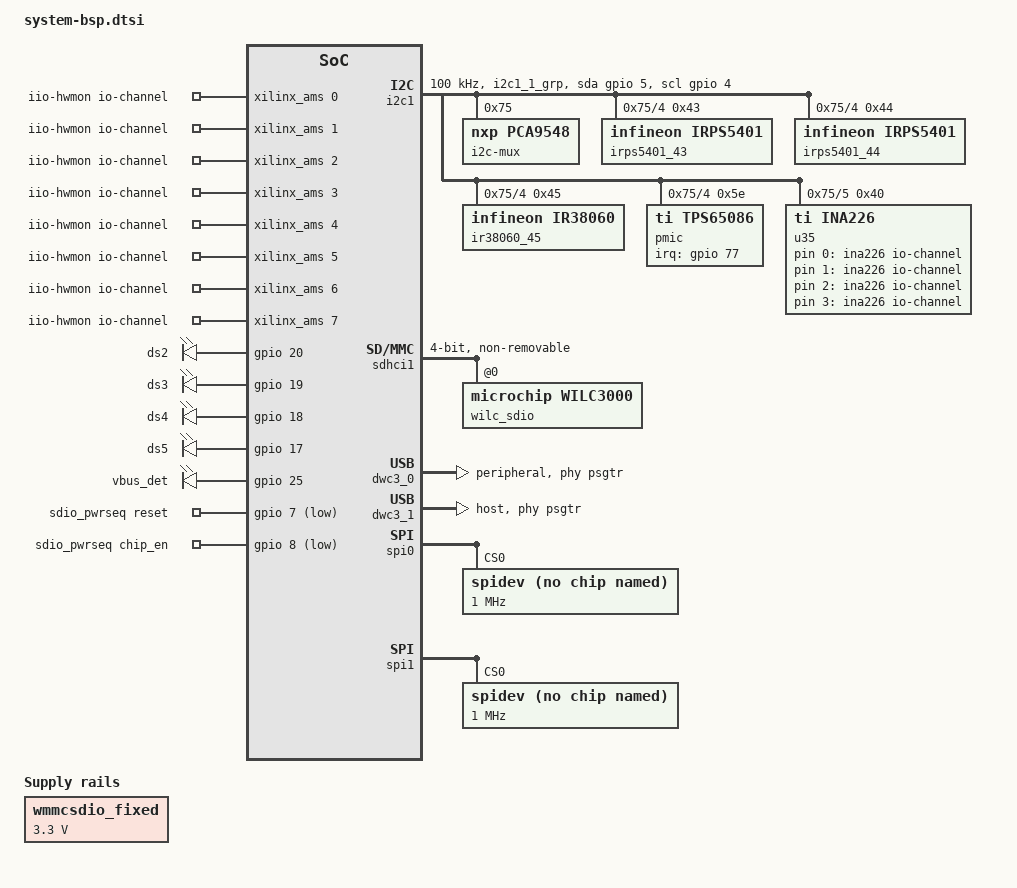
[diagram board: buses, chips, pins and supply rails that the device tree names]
/include/ "system-conf.dtsi"
/include/ "openamp.dtsi"

#include "include/dt-bindings/input/input.h"
#include "include/dt-bindings/interrupt-controller/irq.h"
#include "include/dt-bindings/gpio/gpio.h"
#include "include/dt-bindings/pinctrl/pinctrl-zynqmp.h"
#include "include/dt-bindings/phy/phy.h"

/ {
   chosen {
      bootargs = "earlycon console=ttyPS0,115200 clk_ignore_unused root=/dev/mmcblk0p2 rw rootwait cma=512M rfkill.default_state=1";
   };

   gpio-keys {
      compatible = "gpio-keys";
      autorepeat;
   };

   iio-hwmon {
      compatible = "iio-hwmon";
      io-channels = <&xilinx_ams 0>, <&xilinx_ams 1>, <&xilinx_ams 2>,
         <&xilinx_ams 3>, <&xilinx_ams 4>, <&xilinx_ams 5>,
         <&xilinx_ams 6>, <&xilinx_ams 7>, <&xilinx_ams 8>,
         <&xilinx_ams 9>, <&xilinx_ams 10>,
         <&xilinx_ams 11>, <&xilinx_ams 12>;
   };

   leds {
      compatible = "gpio-leds";
      ds2 {
         label = "ds2";
         gpios = <&gpio 20 GPIO_ACTIVE_HIGH>;
         linux,default-trigger = "heartbeat";
      };

      ds3 {
         label = "ds3";
         gpios = <&gpio 19 GPIO_ACTIVE_HIGH>;
         linux,default-trigger = "phy0tx"; /* WLAN tx */
         default-state = "off";
      };

      ds4 {
         label = "ds4";
         gpios = <&gpio 18 GPIO_ACTIVE_HIGH>;
         linux,default-trigger = "phy0rx"; /* WLAN rx */
         default-state = "off";
      };

      ds5 {
         label = "ds5";
         gpios = <&gpio 17 GPIO_ACTIVE_HIGH>;
         linux,default-trigger = "bluetooth-power";
      };

      vbus-det { /* U5 USB5744 VBUS detection via MIO25 */
         label = "vbus_det";
         gpios = <&gpio 25 GPIO_ACTIVE_HIGH>;
         default-state = "on";
      };
   };

   wmmcsdio_fixed: fixedregulator-mmcsdio {
      compatible = "regulator-fixed";
      regulator-name = "wmmcsdio_fixed";
      regulator-min-microvolt = <3300000>;
      regulator-max-microvolt = <3300000>;
      regulator-always-on;
      regulator-boot-on;
   };

   sdio_pwrseq: sdio-pwrseq {  /* This needs to be able to manipulate the chip_en and the resetn properly */
      compatible = "mmc-pwrseq-simple";
      reset-gpios = <&gpio 7 1>; // MIO[7] for WILC3000 RESETN, Active low
      post-power-on-delay-ms = <10>;
      chip_en-gpios = <&gpio 8 1>;
   };

   ina226 {
      compatible = "iio-hwmon";
      io-channels = <&u35 0>, <&u35 1>, <&u35 2>, <&u35 3>;
   };

   si5335_0: si5335_0 { /* clk0_usb - u23 */
      compatible = "fixed-clock";
      #clock-cells = <0>;
      clock-frequency = <26000000>;
   };

   si5335_1: si5335_1 { /* clk1_dp - u23 */
      compatible = "fixed-clock";
      #clock-cells = <0>;
      clock-frequency = <27000000>;
   };

   xlnk {
      compatible = "xlnx,xlnk-1.0";
   };

};

/* Vitis interrupt connected at PS interrupt offset [6] (89+6=95) */
/* This description may be missing/incorrect in the pl.dtsi, so we add/fix it here */
&axi_intc_0 {
   compatible = "xlnx,xps-intc-1.00.a";
   interrupt-parent = <&gic>;
   interrupts = <0 95 1>; 
};
&amba_pl {
   zyxclmm_drm {
      compatible = "xlnx,zocl";
      status = "okay";
      interrupt-parent = <&axi_intc_0>;
      interrupts = <0  4>, <1  4>, <2  4>, <3  4>,
         <4  4>, <5  4>, <6  4>, <7  4>,
         <8  4>, <9  4>, <10 4>, <11 4>,
         <12 4>, <13 4>, <14 4>, <15 4>,
         <16 4>, <17 4>, <18 4>, <19 4>,
         <20 4>, <21 4>, <22 4>, <23 4>,
         <24 4>, <25 4>, <26 4>, <27 4>,
         <28 4>, <29 4>, <30 4>, <31 4>;
   };
};

&i2c1 {
   clock-frequency = <100000>;
   pinctrl-names = "default", "gpio";
   pinctrl-0 = <&pinctrl_i2c1_default>;
   pinctrl-1 = <&pinctrl_i2c1_gpio>;
   scl-gpios = <&gpio 4 GPIO_ACTIVE_HIGH>;
   sda-gpios = <&gpio 5 GPIO_ACTIVE_HIGH>;

   i2c-mux@75 { /* U7 on Ultra96-V2 */
      compatible = "nxp,pca9548";
      #address-cells = <1>;
      #size-cells = <0>;
      reg = <0x75>;
      i2csw_0: i2c@0 { /* i2c mw 75 0 1 */
         #address-cells = <1>;
         #size-cells = <0>;
         reg = <0>;
         /* LS MEZZ I2C0 */
         label = "LS-I2C0";
      };
      i2csw_1: i2c@1 { /* i2c mw 75 0 2 */
         #address-cells = <1>;
         #size-cells = <0>;
         reg = <1>;
         /* LS MEZZ I2C1 */
         label = "LS-I2C1";
      };
      i2csw_2: i2c@2 { /* i2c mw 75 0 4 */
         #address-cells = <1>;
         #size-cells = <0>;
         reg = <2>;
         /* HS MEZZ I2C2 */
         label = "HS-I2C2";
      };
      i2csw_3: i2c@3 { /* i2c mw 75 0 8 */
         #address-cells = <1>;
         #size-cells = <0>;
         reg = <3>;
         /* HS MEZZ I2C3 */
         label = "HS-I2C3";
      };
      i2csw_4: i2c@4 { /* i2c mw 75 0 10 */
         #address-cells = <1>;
         #size-cells = <0>;
         reg = <4>;
         /* PMBus PMIC */
         irps5401_43: irps5401@43 { /* U11 on Ultra96-V2 */
            /* #clock-cells = <0>; */
            compatible = "infineon,irps5401";
            reg = <0x43>;
         };

         /* PMBus PMIC */
         irps5401_44: irps5401@44 { /* U12 on Ultra96-V2 */
            /* #clock-cells = <0>; */
            compatible = "infineon,irps5401";
            reg = <0x44>;
         };

         /* PMBus PMIC */
         ir38060_45: ir38060@45 { /* U21 on Ultra96-V2 */
            /* #clock-cells = <0>; */
            compatible = "infineon,ir38060";
            reg = <0x45>;
         };
         pmic: pmic@5e { /* Custom TI PMIC u33 */
            compatible = "ti,tps65086";
            reg = <0x5e>;
            interrupt-parent = <&gpio>;
            interrupts = <77 IRQ_TYPE_LEVEL_LOW>;
            #gpio-cells = <2>;
            gpio-controller;
         };
      };
      i2csw_5: i2c@5 {
         #address-cells = <1>;
         #size-cells = <0>;
         reg = <5>;
         /* PS_PMBUS */
         u35: ina226@40 { /* u35 */
            compatible = "ti,ina226";
            #io-channel-cells = <1>;
            reg = <0x40>;
            shunt-resistor = <10000>;
            /* MIO31 is alert which should be routed to PMUFW */
         };
      };
      i2csw_6: i2c@6 {
         #address-cells = <1>;
         #size-cells = <0>;
         reg = <6>;
         /*
          * Not Connected
          */
      };
      i2csw_7: i2c@7 {
         #address-cells = <1>;
         #size-cells = <0>;
         reg = <7>;
         /*
          * usb5744 (DNP) - U5
          * 100kHz - this is default freq for us
          */
      };
   };
};

&pinctrl0 {
   status = "okay";
   pinctrl_i2c1_default: i2c1-default {
      mux {
         groups = "i2c1_1_grp";
         function = "i2c1";
      };

      conf {
         groups = "i2c1_1_grp";
         bias-pull-up;
         slew-rate = <SLEW_RATE_SLOW>;
         power-source = <IO_STANDARD_LVCMOS18>;
      };
   };

   pinctrl_i2c1_gpio: i2c1-gpio {
      mux {
         groups = "gpio0_4_grp", "gpio0_5_grp";
         function = "gpio0";
      };

      conf {
         groups = "gpio0_4_grp", "gpio0_5_grp";
         slew-rate = <SLEW_RATE_SLOW>;
         power-source = <IO_STANDARD_LVCMOS18>;
      };
   };
};

&psgtr {
   /* usb3, dp */
   clocks = <&si5335_0>, <&si5335_1>;
   clock-names = "ref0", "ref1";
};

/* SD0 only supports 3.3V, no level shifter */
&sdhci0 {
   no-1-8-v;
   disable-wp;
};

&sdhci1 {
   bus-width = <0x4>;
   non-removable;
   disable-wp;
   mmc-pwrseq = <&sdio_pwrseq>;
   max-frequency = <50000000>;
   vqmmc-supply = <&wmmcsdio_fixed>;
   #address-cells = <1>;
   #size-cells = <0>;
   wilc_sdio@1 {
      compatible = "microchip,wilc3000", "microchip,wilc3000";
      reg = <0>;
      // interrupt-parent = <&gpio>; // Microchip driver DOES NOT use gpio irq any more!
      // interrupts = <76 2>; /* MIO76 WILC IRQ 1V8 */ // Microchip driver DOES NOT use gpio irq any more!
      // irq-gpios = <&gpio 76 0>; // Microchip driver DOES NOT use gpio irq any more!
      bus-width= <0x4>;
      status = "okay";
   };
};

&dwc3_0 {
   dr_mode = "peripheral";
   phy-names = "usb3-phy";
   phys = <&psgtr 2 PHY_TYPE_USB3 0 0>;
   maximum-speed = "super-speed";
};

&dwc3_1 {
   dr_mode = "host";
   phy-names = "usb3-phy";
   phys = <&psgtr 3 PHY_TYPE_USB3 1 0>;
   maximum-speed = "super-speed";
};

&spi0 {
   num-cs = <1>;
   spidev@0x00 {
      compatible = "rohm,dh2228fv";
      spi-max-frequency = <1000000>;
      reg = <0>;
   };
};

&spi1 {
   num-cs = <1>;
   spidev@0x00 {
      compatible = "rohm,dh2228fv";
      spi-max-frequency = <1000000>;
      reg = <0>;
   };
};
